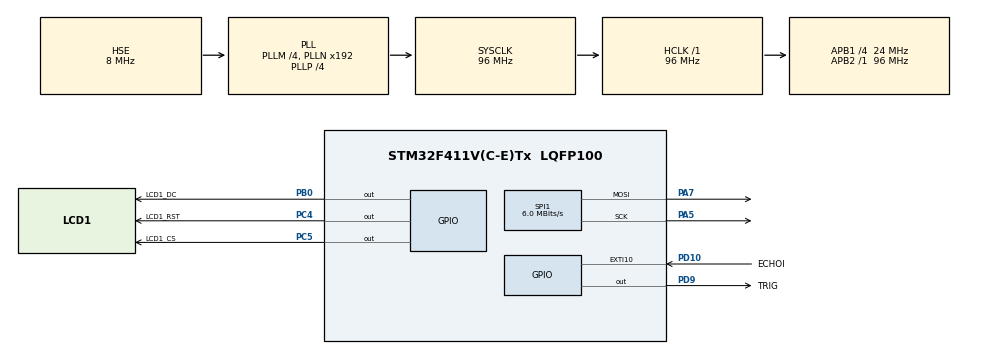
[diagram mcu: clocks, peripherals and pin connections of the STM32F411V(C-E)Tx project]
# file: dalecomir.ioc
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Mcu.Family=STM32F4
Mcu.Name=STM32F411V(C-E)Tx
Mcu.Package=LQFP100
NVIC.EXTI15_10_IRQn=true\:0\:0\:false\:false\:true\:true\:true\:true
NVIC.PriorityGroup=NVIC_PRIORITYGROUP_0
NVIC.SPI1_IRQn=true\:0\:0\:false\:false\:true\:true\:true\:true
NVIC.TIM1_UP_TIM10_IRQn=true\:0\:0\:false\:false\:true\:true\:true\:true
PA5.Mode=TX_Only_Simplex_Unidirect_Master
PA5.Signal=SPI1_SCK
PA7.Mode=TX_Only_Simplex_Unidirect_Master
PA7.Signal=SPI1_MOSI
PB0.GPIO_Label=LCD1_DC
PB0.Signal=GPIO_Output
PC14-OSC32_IN.Mode=LSE-External-Oscillator
PC14-OSC32_IN.Signal=RCC_OSC32_IN
PC15-OSC32_OUT.Mode=LSE-External-Oscillator
PC15-OSC32_OUT.Signal=RCC_OSC32_OUT
PC4.GPIO_Label=LCD1_RST
PC4.Signal=GPIO_Output
PC5.GPIO_Label=LCD1_CS
PC5.Signal=GPIO_Output
PD10.GPIO_Label=ECHOI
PD10.GPIO_ModeDefaultEXTI=GPIO_MODE_IT_RISING_FALLING
PD10.Signal=GPXTI10
PD9.GPIO_Label=TRIG
PD9.Signal=GPIO_Output
PH0\ -\ OSC_IN.Mode=HSE-External-Oscillator
PH0\ -\ OSC_IN.Signal=RCC_OSC_IN
PH1\ -\ OSC_OUT.Mode=HSE-External-Oscillator
PH1\ -\ OSC_OUT.Signal=RCC_OSC_OUT
ProjectManager.HeapSize=0x200
ProjectManager.StackSize=0x400
ProjectManager.TargetToolchain=STM32CubeIDE
RCC.48MHZClocksFreq_Value=48000000
RCC.AHBFreq_Value=96000000
RCC.APB1CLKDivider=RCC_HCLK_DIV4
RCC.APB1Freq_Value=24000000
RCC.APB1TimFreq_Value=48000000
RCC.APB2Freq_Value=96000000
RCC.APB2TimFreq_Value=96000000
RCC.CortexFreq_Value=96000000
RCC.HCLKFreq_Value=96000000
RCC.HSE_VALUE=8000000
RCC.HSI_VALUE=16000000
RCC.PLLI2SM=5
RCC.PLLI2SN=200
RCC.PLLM=4
RCC.PLLP=RCC_PLLP_DIV4
RCC.PLLQ=8
RCC.PLLSourceVirtual=RCC_PLLSOURCE_HSE
RCC.SYSCLKFreq_VALUE=96000000
RCC.SYSCLKSource=RCC_SYSCLKSOURCE_PLLCLK
RCC.VCOOutputFreq_Value=384000000
SPI1.BaudRatePrescaler=SPI_BAUDRATEPRESCALER_16
SPI1.CalculateBaudRate=6.0 MBits/s
SPI1.Direction=SPI_DIRECTION_2LINES
SPI1.Mode=SPI_MODE_MASTER
SPI1.VirtualType=VM_MASTER
TIM10.AutoReloadPreload=TIM_AUTORELOAD_PRELOAD_ENABLE
TIM10.Period=10000
TIM10.Prescaler=95
VP_TIM10_VS_ClockSourceINT.Mode=Enable_Timer
board=STM32F411E-DISCO

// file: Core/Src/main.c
/* USER CODE BEGIN Header */
/**
  ******************************************************************************
  * @file           : main.c
  * @brief          : Main program body
  ******************************************************************************
  * @attention
  *
  * Copyright (c) 2023 STMicroelectronics.
  * All rights reserved.
  *
  * This software is licensed under terms that can be found in the LICENSE file
  * in the root directory of this software component.
  * If no LICENSE file comes with this software, it is provided AS-IS.
  *
  ******************************************************************************
  */
/* USER CODE END Header */
#include "main.h"
#include "spi.h"
#include "tim.h"
#include "gpio.h"

/* USER CODE BEGIN Includes */
#include "stdio.h"
#include "lcd5110.h"
/* USER CODE END Includes */

void SystemClock_Config(void);

/* USER CODE BEGIN 0 */

LCD5110_display lcd1;
volatile uint32_t tim10_overflows = 0;
void TIM10_reinit()
{
 HAL_TIM_Base_Stop(&htim10);
 __HAL_TIM_SET_PRESCALER( &htim10, (95) );
 __HAL_TIM_SET_COUNTER( &htim10, 0 );
 tim10_overflows = 0;
 HAL_TIM_Base_Start_IT(&htim10);
}

void init_timing()
{

 TIM10_reinit();

}

uint32_t get_tim10_us()
{
 __HAL_TIM_DISABLE_IT(&htim10, TIM_IT_UPDATE);
 uint32_t res = tim10_overflows * 10000 + __HAL_TIM_GET_COUNTER(&htim10);
 __HAL_TIM_ENABLE_IT(&htim10, TIM_IT_UPDATE);
 return res;
}

void udelay_TIM10(uint32_t useconds) {
 uint32_t before = get_tim10_us();
 while( get_tim10_us() < before+useconds){}
}

#define USE_HAL_DELAY_AND_ASM 1
#define USE_DWT_TIMING 1
#define __HAL_TIM_SET_PRESCALER(__HANDLE__, __PRESC__)((__HANDLE__)->Instance->PSC = (__PRESC__))

void HAL_TIM_PeriodElapsedCallback(TIM_HandleTypeDef *htim)
{
  if( htim->Instance == TIM10 )
  {
   ++tim10_overflows;
  }
}

#define USE_TIM10_TIMING 1

uint32_t get_us()
{

 return get_tim10_us();

}

void udelay(uint32_t useconds)
{

 udelay_TIM10(useconds);

}

typedef enum state_t {
 IDLE_S,
 TRIGGERING_S,
 WAITING_FOR_ECHO_START_S,
 WAITING_FOR_ECHO_STOP_S,
 TRIG_NOT_WENT_LOW_S,
 ECHO_TIMEOUT_S,
 ECHO_NOT_WENT_LOW_S,
 READING_DATA_S,
 ERROR_S
} state_t;

volatile state_t state = IDLE_S;

volatile uint32_t echo_start;
volatile uint32_t echo_finish;
volatile uint32_t measured_time;

void HAL_GPIO_EXTI_Callback(uint16_t GPIO_Pin)
{
 if (GPIO_Pin == ECHOI_Pin)
 {
  switch (state) {
  case WAITING_FOR_ECHO_START_S: {
   echo_start =  get_us();
   state = WAITING_FOR_ECHO_STOP_S;
   break;
  }
  case WAITING_FOR_ECHO_STOP_S: {
   echo_finish = get_us();
   measured_time = echo_finish - echo_start;
   state = READING_DATA_S;
   break;
  }
  default:
   state = ERROR_S;
  }
 }
}

/* USER CODE END 0 */

int main(void)
{

  /* MCU Configuration--------------------------------------------------------*/

  /* Reset of all peripherals, Initializes the Flash interface and the Systick. */
  HAL_Init();

  /* Configure the system clock */
  SystemClock_Config();

  /* Initialize all configured peripherals */
  MX_GPIO_Init();
  MX_SPI1_Init();
  MX_TIM10_Init();
  /* USER CODE BEGIN 2 */

  lcd1.hw_conf.spi_handle = &hspi1;
    lcd1.hw_conf.spi_cs_pin =  LCD1_CS_Pin;
    lcd1.hw_conf.spi_cs_port = LCD1_CS_GPIO_Port;
    lcd1.hw_conf.rst_pin =  LCD1_RST_Pin;
    lcd1.hw_conf.rst_port = LCD1_RST_GPIO_Port;
    lcd1.hw_conf.dc_pin =  LCD1_DC_Pin;
    lcd1.hw_conf.dc_port = LCD1_DC_GPIO_Port;
    lcd1.def_scr = lcd5110_def_scr;
    LCD5110_init(&lcd1.hw_conf, LCD5110_NORMAL_MODE, 0x40, 2, 3);
//
//    LCD5110_print("Hello world!\n", BLACK, &lcd1);

  /* USER CODE END 2 */

  /* Infinite loop */
  /* USER CODE BEGIN WHILE */
  init_timing();
  while (1)
  {
	 char result[80];

	 HAL_GPIO_WritePin(TRIG_GPIO_Port, TRIG_Pin, GPIO_PIN_SET);
	 udelay_TIM10(16);
	 HAL_GPIO_WritePin(TRIG_GPIO_Port, TRIG_Pin, GPIO_PIN_RESET);

	 state = WAITING_FOR_ECHO_START_S;

	 while( state == WAITING_FOR_ECHO_START_S && state != ERROR_S )
	    {}
	 if ( state == ERROR_S )
	 {
		 LCD5110_print("Error on start", BLACK, &lcd1);
		 LCD5110_refresh(&lcd1.hw_conf);
		 LCD5110_clear_scr(&lcd1.hw_conf);
	     continue;
	 }
	 while( state == WAITING_FOR_ECHO_STOP_S && state != ERROR_S )
	    {}
	 if ( state == ERROR_S )
	 {
		 LCD5110_print("Error on finish", BLACK, &lcd1);
		 LCD5110_refresh(&lcd1.hw_conf);
		 LCD5110_clear_scr(&lcd1.hw_conf);
	     continue;
	 }
	 if (measured_time > 4000) {
	 		 LCD5110_print("Too far\n", BLACK, &lcd1);
	 		 HAL_Delay(1000);
	 		 LCD5110_refresh(&lcd1.hw_conf);
	 		 LCD5110_clear_scr(&lcd1.hw_conf);
	 		 continue;
	 }
	 uint32_t distance = measured_time/58;

	 sprintf(result, "Time:\n %lu us\nDistance:\n %lu cm\n", measured_time, distance);
	 LCD5110_print(result, BLACK, &lcd1);
	 HAL_Delay(1000);
	 LCD5110_refresh(&lcd1.hw_conf);
	 LCD5110_clear_scr(&lcd1.hw_conf);

    /* USER CODE END WHILE */

  }
}

void SystemClock_Config(void)
{
  RCC_OscInitTypeDef RCC_OscInitStruct = {0};
  RCC_ClkInitTypeDef RCC_ClkInitStruct = {0};

  /** Configure the main internal regulator output voltage
  */
  __HAL_RCC_PWR_CLK_ENABLE();
  __HAL_PWR_VOLTAGESCALING_CONFIG(PWR_REGULATOR_VOLTAGE_SCALE1);

  /** Initializes the RCC Oscillators according to the specified parameters
  * in the RCC_OscInitTypeDef structure.
  */
  RCC_OscInitStruct.OscillatorType = RCC_OSCILLATORTYPE_HSE;
  RCC_OscInitStruct.HSEState = RCC_HSE_ON;
  RCC_OscInitStruct.PLL.PLLState = RCC_PLL_ON;
  RCC_OscInitStruct.PLL.PLLSource = RCC_PLLSOURCE_HSE;
  RCC_OscInitStruct.PLL.PLLM = 4;
  RCC_OscInitStruct.PLL.PLLN = 192;
  RCC_OscInitStruct.PLL.PLLP = RCC_PLLP_DIV4;
  RCC_OscInitStruct.PLL.PLLQ = 8;
  if (HAL_RCC_OscConfig(&RCC_OscInitStruct) != HAL_OK)
  {
    Error_Handler();
  }

  /** Initializes the CPU, AHB and APB buses clocks
  */
  RCC_ClkInitStruct.ClockType = RCC_CLOCKTYPE_HCLK|RCC_CLOCKTYPE_SYSCLK
                              |RCC_CLOCKTYPE_PCLK1|RCC_CLOCKTYPE_PCLK2;
  RCC_ClkInitStruct.SYSCLKSource = RCC_SYSCLKSOURCE_PLLCLK;
  RCC_ClkInitStruct.AHBCLKDivider = RCC_SYSCLK_DIV1;
  RCC_ClkInitStruct.APB1CLKDivider = RCC_HCLK_DIV4;
  RCC_ClkInitStruct.APB2CLKDivider = RCC_HCLK_DIV1;

  if (HAL_RCC_ClockConfig(&RCC_ClkInitStruct, FLASH_LATENCY_3) != HAL_OK)
  {
    Error_Handler();
  }
}

void Error_Handler(void)
{
  __disable_irq();
  while (1)
  {
  }
}
